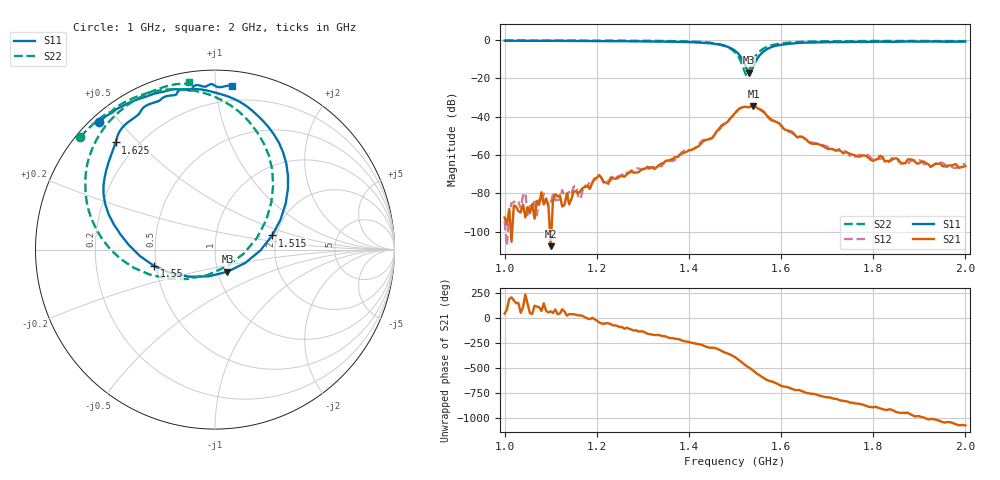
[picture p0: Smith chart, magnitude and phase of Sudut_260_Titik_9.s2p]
# Hz S RI R 50
! CMT, C1220, 16058040, 17.2.0/1
! Date: 14/08/2018 11:58:31
! Data: Format (Calibration Info)
! Freq  S11: Re/Im (F2)  S21: Re/Im (F2)  S12: Re/Im (F2)  S22: Re/Im (F2)
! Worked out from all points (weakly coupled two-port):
!   201 points, 1 GHz to 2 GHz, reference 50 ohm
!   highest |S21| = -34.47 dB at 1.54 GHz (marker M1); lowest = -107.5 dB at 1.1 GHz (marker M2)
!   lowest |S11| = -17.0 dB at 1.53 GHz (marker M3), VSWR 1.33, Z = 55.5 - j14 ohm
!   |S11| at or under -10 dB: 1.516 GHz to 1.548 GHz (31.98 MHz wide, 2.09 % of centre)
!   |S22| runs from -18.9 to -0.2 dB; largest |S21 - S12| = 0.00088
!   S11 on the Smith chart (normalised r, x): 1 GHz: 0.02, +0.44; 1.515 GHz: 1.90, +0.34; 1.55 GHz: 0.49, -0.10; 1.625 GHz: 0.12, +0.43; 2 GHz: 0.10, +1.10
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1e9  -0.6446 0.7124  1.63e-05 1.7e-05  -1.66e-06 -1.84e-05  -0.75 0.6269
1.1e9  -0.5524 0.7803  1.48e-06 3.96e-06  5.19e-06 5.57e-05  -0.6766 0.7015
1.155e9  -0.4898 0.8131  9.29e-05 6.56e-05  0.000141 6.99e-05  -0.6277 0.7414
1.16e9  -0.4851 0.8151  8.82e-05 4.72e-05  7.26e-05 3.13e-05  -0.623 0.7452
1.17e9  -0.4718 0.821  0.000131 5.21e-05  0.000129 3.4e-05  -0.6123 0.7522
1.185e9  -0.447 0.8312  0.00013 -2.15e-05  0.000216 -1.71e-05  -0.5952 0.7615
1.205e9  -0.4251 0.8382  0.00023 -0.000198  0.000197 -0.000183  -0.576 0.7663
1.225e9  -0.4012 0.8461  0.000111 -0.00014  0.000134 -0.00017  -0.5622 0.784
1.23e9  -0.3918 0.8493  0.000139 -0.000217  0.000101 -0.00019  -0.5564 0.7888
1.335e9  -0.2142 0.8931  -0.000536 -0.000122  -0.000531 -5.54e-05  -0.3957 0.8661
1.45e9  0.1815 0.7949  0.00118 0.00246  0.00139 0.00245  0.0265 0.8382
1.5e9  0.4064 0.3383  0.0108 -0.00616  0.0101 -0.00581  0.3237 0.3558
1.515e9  0.3192 0.0791  0.00201 -0.0173  0.0025 -0.0174  0.233 0.0643
1.525e9  0.1678 -0.0746  -0.00869 -0.0157  -0.0086 -0.0159  0.0645 -0.094
1.53e9  0.069 -0.1237  -0.012 -0.0131  -0.012 -0.0133  -0.0422 -0.1421
1.54e9  -0.1427 -0.1512  -0.0183 -0.00453  -0.0181 -0.00457  -0.2653 -0.1617
1.55e9  -0.3397 -0.091  -0.0152 0.00613  -0.0155 0.00555  -0.4519 -0.1015
1.58e9  -0.612 0.2549  0.0005 0.00802  0.000867 0.00832  -0.7031 0.2149
1.625e9  -0.5538 0.597  0.00389 0.000665  0.00366 0.000693  -0.6985 0.5226
1.67e9  -0.4417 0.7405  0.00155 -0.0012  0.00167 -0.00127  -0.6205 0.6746
1.835e9  -0.1459 0.8868  -0.000675 0.000129  -0.000636 0.000274  -0.3705 0.873
2e9  0.0935 0.9123  0.000514 5.53e-05  0.000564 -8.28e-06  -0.1468 0.9312
